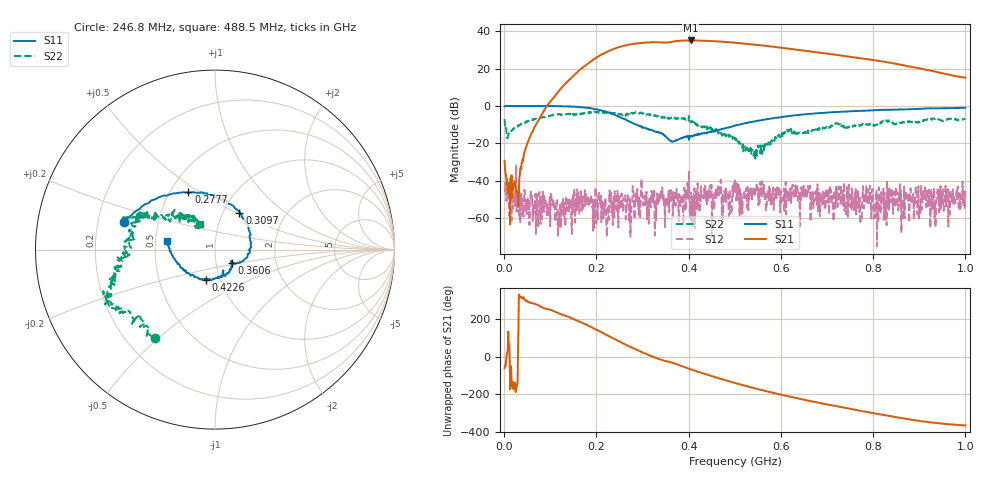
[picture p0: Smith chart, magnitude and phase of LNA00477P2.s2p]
! Created with skrf 1.9.0 (http://scikit-rf.org).
# Hz S RI R 50.0
!freq ReS11 ImS11 ReS21 ImS21 ReS12 ImS12 ReS22 ImS22
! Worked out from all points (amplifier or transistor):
!   1001 points, 1 MHz to 1 GHz, reference 50 ohm
!   highest |S21| = 35.2 dB at 404.6 MHz (marker M1)
!   |S21| within 3 dB of that: 257.3 MHz to 571 MHz (313.7 MHz wide, 75.8 % of centre)
!   unconditionally stable (mu >= 1): 227.8 MHz to 278.6 MHz; 298.3 MHz to 400.2 MHz; 401 MHz to end of sweep (the widest 3 of 48)
!   at 166.8 MHz: K = 1.48, MAG = 29.3 dB, |S12| = -47.0 dB
!   at 500.5 MHz: K = 1.09, MAG = 34.9 dB, |S12| = -39.4 dB
!   at 1 GHz: K = 2.37, MAG = 23.7 dB, |S12| = -45.2 dB
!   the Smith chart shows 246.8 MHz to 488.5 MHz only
!   S11 on the Smith chart (normalised r, x): 246.8 MHz: 0.31, +0.14; 277.7 MHz: 0.62, +0.45; 309.7 MHz: 1.19, +0.51; 360.6 MHz: 1.19, -0.17; 422.6 MHz: 0.86, -0.30; 488.5 MHz: 0.58, +0.06
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1000000  0.9829 0.0159  0.0168 -0.0295  -0.00368 0.00595  0.3246 0.3048
1.09891e8  0.5181 -0.852  -0.8725 -1.625  -0.00111 0.00138  0.444 -0.3671
1.67833e8  -0.211 -0.9054  -10.22 -0.6629  -0.00153 -0.000221  0.0557 -0.6342
2.11789e8  -0.6568 -0.3745  -15.74 18.55  -0.0012 -0.00256  -0.1817 -0.6575
2.46754e8  -0.5096 0.156  2.851 37.26  -0.00111 -2.41e-05  -0.3356 -0.4911
2.77723e8  -0.1479 0.319  30.58 34.48  0.00286 0.000304  -0.5745 -0.3259
3.09691e8  0.1358 0.2026  49.55 11.65  0.000194 0.000902  -0.573 -0.1884
3.34666e8  0.2011 0.0124  50.46 -9.971  -0.0025 0.00311  -0.5227 -0.0402
3.6064e8  0.0924 -0.0724  45.63 -24.84  9.35e-05 0.00565  -0.4763 0.0716
3.78622e8  0.0943 -0.0866  40.36 -38.84  1.76e-05 -0.000806  -0.4248 0.1767
4.04596e8  0.0268 -0.1505  22.38 -52.96  0.000592 0.000484  -0.3303 0.1634
4.22578e8  -0.0492 -0.1699  8.1 -56.37  -0.00263 0.00417  -0.2232 0.2255
4.53547e8  -0.1863 -0.1034  -15.14 -52.85  0.00225 0.00233  -0.1501 0.1618
4.88512e8  -0.2677 0.049  -34.21 -38.47  0.00327 0.00463  -0.082 0.1451
5.005e8  -0.2754 0.1205  -38.65 -32.17  0.0107 -0.000205  -0.0696 0.0915
5.4046e8  -0.2146 0.317  -43.45 -10.3  0.00411 -0.00152  -0.0495 -0.00428
5.88412e8  -0.0277 0.4811  -36.87 10.67  0.00214 -0.00549  -0.1069 -0.0902
6.67333e8  0.3378 0.5251  -14.95 24.46  0.000807 -0.0025  -0.2037 -0.0761
7.53247e8  0.6354 0.3519  3.578 20.41  -0.00138 -0.000754  -0.2813 -0.0159
8.34166e8  0.7861 0.1225  10.57 10.23  0.00142 0.000316  -0.3898 0.005
9.09091e8  0.8397 -0.1318  9.463 2.286  -0.00141 -0.00495  -0.3704 0.1704
1e9  0.8 -0.4071  5.715 -0.7292  -0.00544 -0.000728  -0.3027 0.3309
